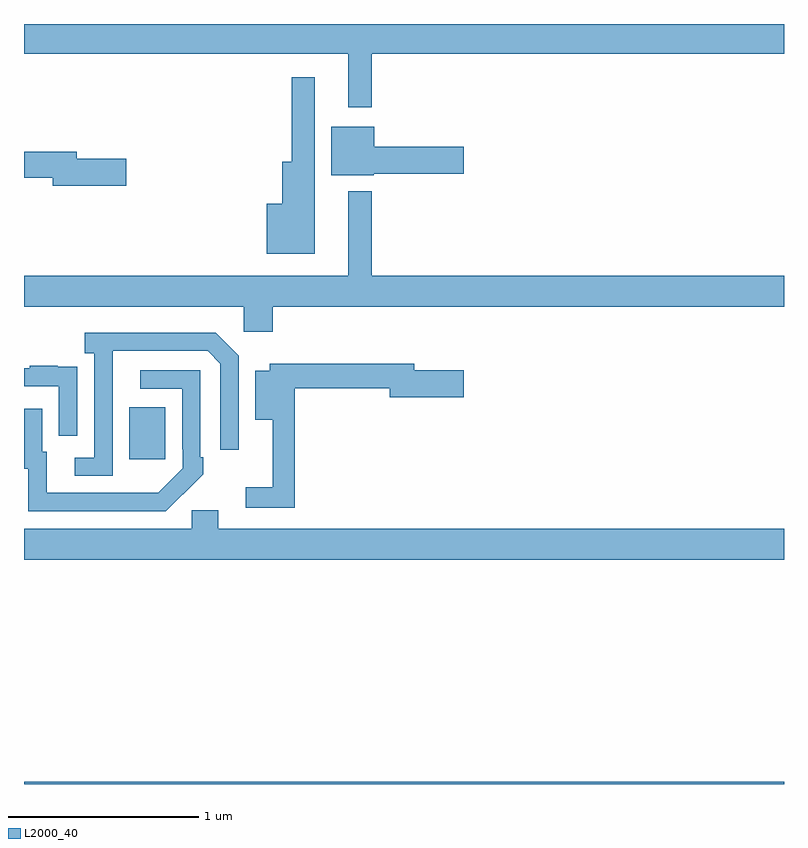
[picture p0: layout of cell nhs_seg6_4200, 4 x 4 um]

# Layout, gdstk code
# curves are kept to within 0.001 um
import gdstk
lib = gdstk.Library(unit=1e-6, precision=1e-09)
def R(c, l, rs):  # rectangles x0, y0, x1, y1
    for r in rs: c.add(gdstk.rectangle(r[:2], r[2:], *l))
def P(c, l, *ps):  # polygons
    for p in ps: c.add(gdstk.Polygon(p, *l))
L2000_40 = (2000, 40)

nhs_seg6_4200 = lib.new_cell('nhs_seg6_4200')
R(nhs_seg6_4200, L2000_40, [(359,935.5,363,935.512), (359.555,937.209,359.743,937.483)])
P(nhs_seg6_4200, L2000_40, [(360.829,939.344),(363,939.344),(363,939.5),(359,939.5),(359,939.344),(360.707,939.344),(360.707,939.063),(360.829,939.063)],
  [(360.529,939.22),(360.408,939.22),(360.408,938.776),(360.359,938.776),(360.359,938.554),(360.278,938.554),(360.278,938.291),(360.529,938.291)],
  [(360.84,938.711),(361.315,938.711),(361.315,938.853),(360.844,938.853),(360.844,938.959),(360.617,938.959),(360.617,938.705),(360.84,938.705)],
  [(359.539,938.792),(359.278,938.792),(359.278,938.828),(359,938.828),(359,938.692),(359.15,938.692),(359.15,938.65),(359.539,938.65)],
  [(360.308,938.012),(363,938.012),(363,938.176),(360.829,938.176),(360.829,938.62),(360.707,938.62),(360.707,938.176),(359,938.176),(359,938.012),(360.156,938.012),(360.156,937.881),(360.308,937.881)],
  [(359.466,937.579),(359.467,937.779),(359.967,937.779),(360.033,937.713),(360.033,937.26),(360.129,937.26),(360.129,937.755),(360.008,937.876),(359.319,937.876),(359.319,937.766),(359.37,937.766),(359.37,937.218),(359.268,937.218),(359.268,937.122),(359.466,937.122)],
  [(360.425,937.582),(360.926,937.582),(360.926,937.535),(361.315,937.535),(361.315,937.677),(361.054,937.677),(361.054,937.711),(360.294,937.711),(360.294,937.675),(360.218,937.675),(360.218,937.418),(360.308,937.418),(360.308,937.063),(360.168,937.063),(360.168,936.954),(360.425,936.954)],
  [(359.28,937.586),(359.279,937.586),(359.279,937.695),(359.177,937.695),(359.177,937.702),(359.029,937.702),(359.029,937.689),(359,937.689),(359,937.593),(359.184,937.593),(359.184,937.332),(359.28,937.332)],
  [(359.837,937.027),(359.838,937.026),(359.943,937.131),(359.943,937.219),(359.928,937.219),(359.928,937.677),(359.613,937.677),(359.613,937.581),(359.832,937.581),(359.832,937.261),(359.835,937.261),(359.835,937.161),(359.707,937.033),(359.119,937.032),(359.119,937.248),(359.095,937.248),(359.095,937.474),(359,937.474),(359,937.158),(359.022,937.158),(359.022,936.936),(359.746,936.936)],
  [(363,936.844),(360.022,936.844),(360.022,936.942),(359.883,936.942),(359.883,936.844),(359,936.844),(359,936.68),(363,936.68)])

lib.write_gds('nhs_seg6_4200.gds')
